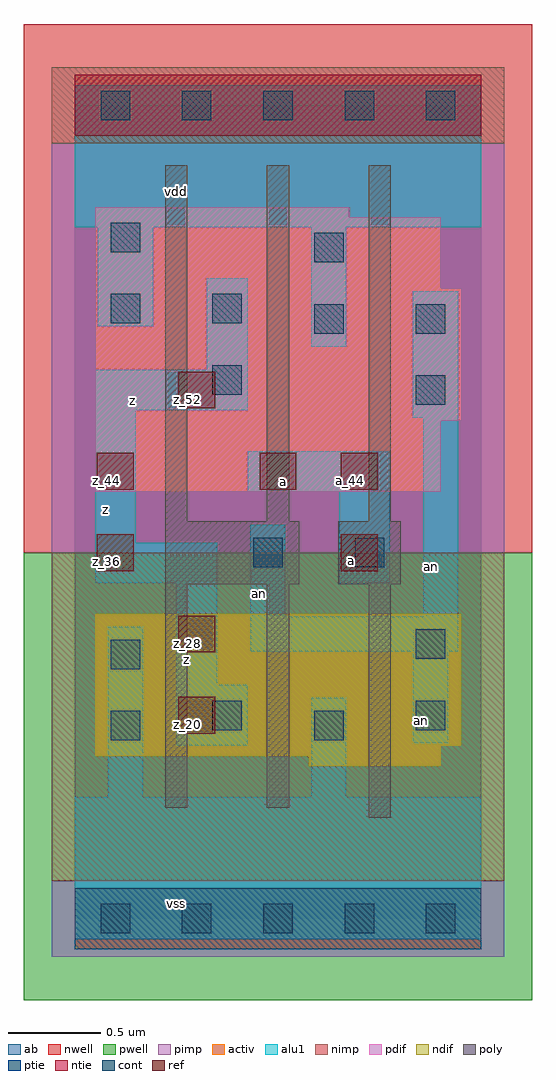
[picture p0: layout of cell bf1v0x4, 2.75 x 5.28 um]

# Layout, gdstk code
import gdstk
lib = gdstk.Library(unit=1e-6, precision=2.5e-09)
def R(c, l, rs):  # rectangles x0, y0, x1, y1
    for r in rs: c.add(gdstk.rectangle(r[:2], r[2:], *l))
def A(c, l, x, y, w, h, nx, ny, dx, dy):  # array of equal rectangles
    R(c, l, [(x+i*dx, y+j*dy, x+i*dx+w, y+j*dy+h) for i in range(nx) for j in range(ny)])
ndif = (3, 0)
pdif = (4, 0)
ntie = (5, 0)
ptie = (6, 0)
ref = (24, 0)
cont = (25, 0)
pwell = (41, 0)
nwell = (42, 0)
activ = (43, 0)
pimp = (44, 0)
nimp = (45, 0)
poly = (46, 0)
alu1 = (49, 0)
ab = (63, 0)

bf1v0x4 = lib.new_cell('bf1v0x4')
R(bf1v0x4, ndif, [(1.265,0.825,1.98,0.88), (0.11,0.88,1.98,0.935), (0.11,0.935,2.09,1.65)])
R(bf1v0x4, pdif, [(0.11,2.31,1.98,2.695), (0.11,2.695,2.09,3.41), (0.11,3.41,1.98,3.795), (0.11,3.795,1.485,3.85)])
R(bf1v0x4, ntie, [(0,4.235,2.2,4.565)])
R(bf1v0x4, ptie, [(0,-0.165,2.2,0.165)])
R(bf1v0x4, ref, [(0.56,1,0.76,1.2), (0.56,1.44,0.76,1.64), (0.12,1.88,0.32,2.08), (1.44,1.88,1.64,2.08), (0.12,2.32,0.32,2.52), (1,2.32,1.2,2.52), (1.44,2.32,1.64,2.52), (0.56,2.76,0.76,2.96)])
A(bf1v0x4, cont, 0.14, -0.08, 0.16, 0.16, 5, 2, 0.44, 4.4)
R(bf1v0x4, cont, [(0.195,0.965,0.355,1.125), (1.295,0.965,1.455,1.125), (0.745,1.02,0.905,1.18), (1.845,1.02,2.005,1.18), (0.195,1.35,0.355,1.51), (1.845,1.405,2.005,1.565), (0.965,1.9,1.125,2.06), (1.515,1.9,1.675,2.06), (1.845,2.78,2.005,2.94), (0.745,2.835,0.905,2.995), (1.295,3.165,1.455,3.325), (1.845,3.165,2.005,3.325), (0.195,3.22,0.355,3.38), (0.745,3.22,0.905,3.38), (1.295,3.55,1.455,3.71), (0.195,3.605,0.355,3.765)])
R(bf1v0x4, pwell, [(-0.275,-0.44,2.475,1.98)])
R(bf1v0x4, nwell, [(-0.275,1.98,2.475,4.84)])
R(bf1v0x4, activ, [(0,-0.165,2.2,0.165), (1.265,0.825,1.98,0.88), (0.11,0.88,1.98,0.935), (0.11,0.935,2.09,1.65), (0.11,2.31,1.98,2.695), (0.11,2.695,2.09,3.41), (0.11,3.41,1.98,3.795), (0.11,3.795,1.485,3.85), (0,4.235,2.2,4.565)])
R(bf1v0x4, pimp, [(-0.125,-0.205,2.325,0.205), (-0.125,1.98,2.325,4.195)])
R(bf1v0x4, nimp, [(-0.125,0.205,2.325,1.98), (-0.125,4.195,2.325,4.605)])
A(bf1v0x4, poly, 0.49, 2.15, 0.12, 1.925, 3, 1, 0.55, 0)
R(bf1v0x4, poly, [(1.59,0.545,1.71,1.81), (0.49,0.6,0.61,1.81), (1.04,0.6,1.16,1.81), (0.49,1.81,1.215,2.15), (1.425,1.81,1.765,2.15)])
R(bf1v0x4, alu1, [(0,-0.11,2.2,0.66), (0.18,0.66,0.37,1.58), (1.28,0.66,1.47,1.195), (0.55,0.935,0.935,1.265), (1.83,0.95,2.02,1.445), (0.55,1.265,0.77,1.815), (0.95,1.445,2.075,1.635), (0.95,1.635,1.14,2.13), (1.885,1.635,2.075,2.71), (0.11,1.815,0.77,2.035), (1.43,1.815,1.705,2.31), (0.11,2.035,0.33,2.75), (0.935,2.31,1.705,2.53), (1.83,2.71,2.075,3.395), (0.11,2.75,0.935,2.97), (0.715,2.97,0.935,3.465), (1.28,3.095,1.47,3.74), (0.125,3.205,0.425,3.74), (0,3.74,2.2,4.51)])
R(bf1v0x4, ab, [(0,0,2.2,4.4)])
bf1v0x4.add(gdstk.Label('vss', (0.55,0.0825), layer=49, texttype=0))
bf1v0x4.add(gdstk.Label('an', (1.8775,1.0725), layer=49, texttype=0))
bf1v0x4.add(gdstk.Label('an', (1.9325,1.9025), layer=49, texttype=0))
bf1v0x4.add(gdstk.Label('a', (1.4975,1.9375), layer=49, texttype=0))
bf1v0x4.add(gdstk.Label('an', (0.9975,1.7575), layer=49, texttype=0))
bf1v0x4.add(gdstk.Label('z', (0.605,1.4025), layer=49, texttype=0))
bf1v0x4.add(gdstk.Label('a', (1.1275,2.365), layer=49, texttype=0))
bf1v0x4.add(gdstk.Label('z', (0.165,2.2125), layer=49, texttype=0))
bf1v0x4.add(gdstk.Label('z', (0.315,2.805), layer=49, texttype=0))
bf1v0x4.add(gdstk.Label('vdd', (0.55,3.9325), layer=49, texttype=0))
bf1v0x4.add(gdstk.Label('z_20', (0.61,1.05), layer=24, texttype=0))
bf1v0x4.add(gdstk.Label('z_52', (0.61,2.81), layer=24, texttype=0))
bf1v0x4.add(gdstk.Label('a_44', (1.05,2.37), layer=24, texttype=0))
bf1v0x4.add(gdstk.Label('a_36', (1.49,1.93), layer=24, texttype=0))
bf1v0x4.add(gdstk.Label('z_36', (0.17,1.93), layer=24, texttype=0))
bf1v0x4.add(gdstk.Label('z_44', (0.17,2.37), layer=24, texttype=0))
bf1v0x4.add(gdstk.Label('z_28', (0.61,1.49), layer=24, texttype=0))
bf1v0x4.add(gdstk.Label('a_44', (1.49,2.37), layer=24, texttype=0))

lib.write_gds('bf1v0x4.gds')
